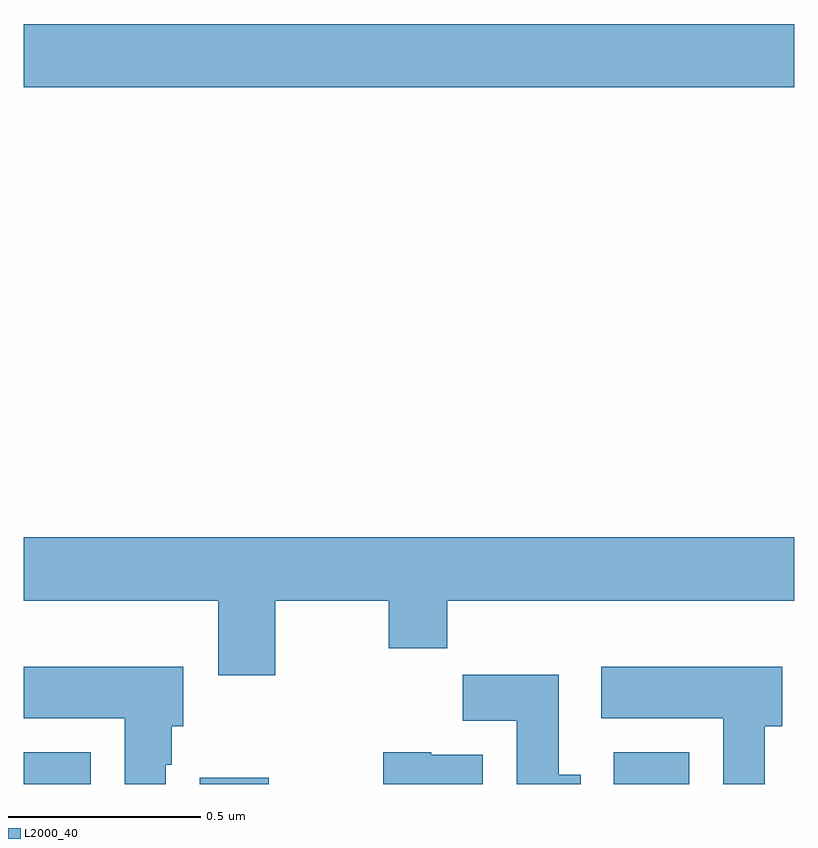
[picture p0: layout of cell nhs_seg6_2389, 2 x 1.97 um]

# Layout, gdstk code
import gdstk
lib = gdstk.Library(unit=1e-6, precision=1e-09)
def R(c, l, rs):  # rectangles x0, y0, x1, y1
    for r in rs: c.add(gdstk.rectangle(r[:2], r[2:], *l))
def P(c, l, *ps):  # polygons
    for p in ps: c.add(gdstk.Polygon(p, *l))
L2000_40 = (2000, 40)

nhs_seg6_2389 = lib.new_cell('nhs_seg6_2389')
R(nhs_seg6_2389, L2000_40, [(142,973.5,142.174,973.582), (142.457,973.5,142.636,973.516), (143.531,973.5,143.727,973.582), (142,975.308,144,975.472)])
P(nhs_seg6_2389, L2000_40, [(142.653,973.976),(142.948,973.976),(142.948,973.852),(143.099,973.852),(143.099,973.976),(144,973.976),(144,974.14),(142,974.14),(142,973.976),(142.505,973.976),(142.505,973.782),(142.653,973.782)],
  [(143.923,973.65),(143.968,973.65),(143.968,973.804),(143.499,973.804),(143.499,973.67),(143.816,973.67),(143.816,973.5),(143.923,973.5)],
  [(142.369,973.55),(142.384,973.55),(142.384,973.65),(142.414,973.65),(142.414,973.804),(142,973.804),(142,973.67),(142.262,973.67),(142.262,973.5),(142.369,973.5)],
  [(143.446,973.524),(143.389,973.524),(143.389,973.783),(143.14,973.783),(143.14,973.664),(143.279,973.664),(143.279,973.5),(143.446,973.5)],
  [(143.191,973.576),(143.058,973.576),(143.058,973.582),(142.933,973.582),(142.933,973.5),(143.191,973.5)])

lib.write_gds('nhs_seg6_2389.gds')
